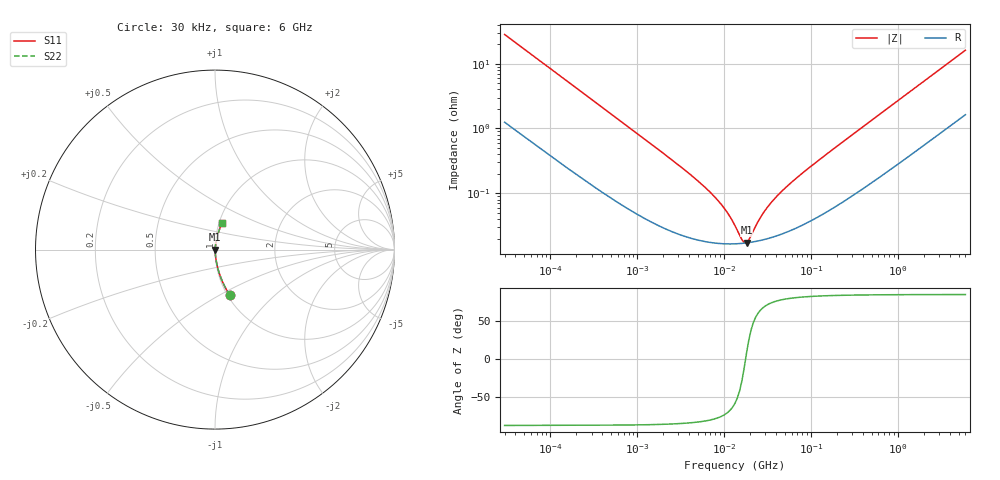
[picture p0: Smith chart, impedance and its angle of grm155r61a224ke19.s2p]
!Murata Part Number:GRM155R61A224KE19
!These Parameters are Measured in Series Mode Connection
!  o--ll--o
!Port1  Port2
!  o------o
!Operation Temp=25[C], DC Bias Voltage=0[V]
!Freq. Start=30[kHz] Stop=6[GHz], 201[Steps]
# Hz S DB R 50
!Freq.[Hz] MagS11[dB] PhaseS11[DEG] MagS21[dB] PhaseS21[DEG] MagS12[dB] PhaseS12[DEG] MagS22[dB] PhaseS22[DEG]
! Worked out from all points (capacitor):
!   201 points, 30 kHz to 6 GHz, reference 50 ohm
!   read as one part in series: C = 189 nF near 31.89 kHz
!   lowest |Z| = 17.4 mohm at 18.2 MHz (marker M1)
!   series resonance near 17.79 MHz, so ESL is about 420 pH
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30000  -11.45 -72.0  -0.43 15.5  -0.43 15.5  -11.45 -72.0
45989  -14.95 -77.1  -0.21 10.3  -0.21 10.3  -14.95 -77.1
74937  -19.07 -81.0  -0.10 6.4  -0.10 6.4  -19.07 -81.0
238944  -29.07 -85.3  -0.02 2.0  -0.02 2.0  -29.07 -85.3
1790467  -46.62 -85.9  -0.00 0.3  -0.00 0.3  -46.62 -85.9
4207638  -54.42 -83.8  -0.00 0.1  -0.00 0.1  -54.42 -83.8
6856139  -59.49 -80.4  -0.00 0.1  -0.00 0.1  -59.49 -80.4
9888047  -64.27 -74.1  -0.00 0.0  -0.00 0.0  -64.27 -74.1
1.187479e7  -67.40 -67.0  -0.00 0.0  -0.00 0.0  -67.40 -67.0
1.341641e7  -69.96 -58.3  -0.00 0.0  -0.00 0.0  -69.96 -58.3
1.611208e7  -74.26 -28.9  -0.00 0.0  -0.00 0.0  -74.26 -28.9
1.712604e7  -75.16 -11.8  -0.00 0.0  -0.00 0.0  -75.16 -11.8
1.82038e7  -75.19 7.3  -0.00 -0.0  -0.00 -0.0  -75.19 7.3
1.934938e7  -74.34 24.6  -0.00 -0.0  -0.00 -0.0  -74.34 24.6
2.625384e7  -67.48 63.6  -0.00 -0.0  -0.00 -0.0  -67.48 63.6
2.966219e7  -65.31 68.8  -0.00 -0.0  -0.00 -0.0  -65.31 68.8
3.562203e7  -62.59 73.6  -0.00 -0.0  -0.00 -0.0  -62.59 73.6
5.46078e7  -57.55 78.7  -0.00 -0.1  -0.00 -0.1  -57.55 78.7
1.068591e8  -51.07 81.7  -0.00 -0.2  -0.00 -0.2  -51.07 81.7
8.007212e8  -33.40 82.7  -0.02 -1.2  -0.02 -1.2  -33.40 82.7
2.553167e9  -23.38 80.3  -0.08 -3.9  -0.08 -3.9  -23.38 80.3
6e9  -16.13 75.2  -0.25 -8.9  -0.25 -8.9  -16.13 75.2
